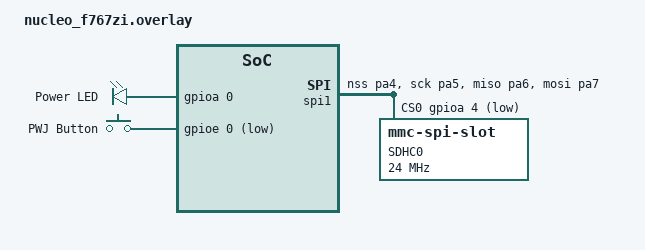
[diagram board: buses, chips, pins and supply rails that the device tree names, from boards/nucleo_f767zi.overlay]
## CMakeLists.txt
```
# SPDX-License-Identifier: Apache-2.0

cmake_minimum_required(VERSION 3.13.1)
find_package(Zephyr REQUIRED HINTS $ENV{ZEPHYR_BASE})
project(app LANGUAGES C VERSION 1.0.0)

target_include_directories(app PRIVATE ${CMAKE_BINARY_DIR}/app/include src)
file(GLOB app_sources "src/*.c")
target_sources(app PRIVATE ${app_sources})

set(ENV{CROSS_COMPILE} "/opt/local/bin/arm-none-eabi-")
```

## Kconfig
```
mainmenu "APP"

source "Kconfig.zephyr"
config APP_ADC_DMA
	default y
	bool
	select USE_STM32_LL_ADC
	select USE_STM32_LL_DMA
```

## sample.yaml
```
sample:
  description: Measure the pressure and infer strain from PWJ
  name: PWJ Strain Logger
tests:
  sample.basic.button:
    tags: button gpio
    filter: dt_compat_enabled_with_alias("gpio-keys", "sw0")
    depends_on: gpio sdhc
    harness: button console
    harness_config:
      fixture: fixture_sdhc
```

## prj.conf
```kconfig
CONFIG_GPIO=y
CONFIG_FILE_SYSTEM=y
CONFIG_FAT_FILESYSTEM_ELM=y
CONFIG_PRINTK=y
CONFIG_MAIN_STACK_SIZE=2048
CONFIG_DISK_ACCESS=y
CONFIG_LOG=y
CONFIG_LOG_DEFAULT_LEVEL=4
CONFIG_SDMMC_LOG_LEVEL_DBG=n
CONFIG_SPI_LOG_LEVEL_DBG=n
CONFIG_FS_LOG_LEVEL_DBG=n
```

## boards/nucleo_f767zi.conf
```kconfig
CONFIG_DISK_DRIVER_SDMMC=y
CONFIG_SPI=y
CONFIG_SPI_STM32=y
```

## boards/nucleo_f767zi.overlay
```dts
/ {
	leds {
		compatible = "gpio-leds";
		power_led: led_3 {
			gpios = <&gpioa 0 GPIO_ACTIVE_HIGH>;
			label = "Power LED";
		};
	};


	gpio_keys {
		compatible = "gpio-keys";
		pwj_button: button_1 {
			label = "PWJ Button";
			gpios = <&gpioe 0 GPIO_ACTIVE_LOW>;
		};
	};

	aliases {
		ledstatus = &green_led;
		ledpower = &power_led;
		sw1 = &pwj_button;
	};
};

&spi1 {
        pinctrl-0 = <&spi1_nss_pa4 &spi1_sck_pa5
                     &spi1_miso_pa6 &spi1_mosi_pa7>;
        status = "okay";
        cs-gpios = <&gpioa 4 GPIO_ACTIVE_LOW>;

        sdhc0: sdhc@0 {
                compatible = "zephyr,mmc-spi-slot";
                reg = <0>;
                status = "okay";
                label = "SDHC0";
                spi-max-frequency = <24000000>;
        };
};
```

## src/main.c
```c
/*-
 * Copyright (c) 2022, David Kalliecharan <dave@dal.ca>
 * All rights reserved.
 *
 * Redistribution and use in source and binary forms, with or without
 * modification, are permitted provided that the following conditions are
 * met:
 *
 *  * Redistributions of source code must retain the above copyright
 *    notice, this list of conditions and the following disclaimer.
 *  * Redistributions in binary form must reproduce the above copyright
 *    notice, this list of conditions and the following disclaimer in the
 *    documentation and/or other materials provided with the
 *    distribution.
 *
 * THIS SOFTWARE IS PROVIDED BY THE AUTHOR AND CONTRIBUTORS ``AS IS'' AND
 * ANY EXPRESS OR IMPLIED WARRANTIES, INCLUDING, BUT NOT LIMITED TO, THE
 * IMPLIED WARRANTIES OF MERCHANTABILITY AND FITNESS FOR A PARTICULAR
 * PURPOSE ARE DISCLAIMED. IN NO EVENT SHALL THE AUTHOR OR CONTRIBUTORS
 * BE LIABLE FOR ANY DIRECT, INDIRECT, INCIDENTAL, SPECIAL, EXEMPLARY, OR
 * CONSEQUENTIAL DAMAGES (INCLUDING, BUT NOT LIMITED TO, PROCUREMENT OF
 * SUBSTITUTE GOODS OR SERVICES; LOSS OF USE, DATA, OR PROFITS; OR
 * BUSINESS INTERRUPTION) HOWEVER CAUSED AND ON ANY THEORY OF LIABILITY,
 * WHETHER IN CONTRACT, STRICT LIABILITY, OR TORT (INCLUDING NEGLIGENCE
 * OR OTHERWISE) ARISING IN ANY WAY OUT OF THE USE OF THIS SOFTWARE, EVEN
 * IF ADVISED OF THE POSSIBILITY OF SUCH DAMAGE
 */

/* SPDX-License-Identifier: BSD-2-Clause */

#include "sd.h"

#include <soc.h>
#include <stm32_ll_adc.h>
#include <stm32_ll_dma.h>
#include <zephyr.h>
#include <device.h>
#include <drivers/gpio.h>
#include <sys/util.h>
#include <sys/printk.h>

#include <disk/disk_access.h>
#include <logging/log.h>
#include <fs/fs.h>
#include <ff.h>

#include <inttypes.h>
#include <stdint.h>
#include <stdbool.h>

#define SLEEP_TIME_MS	1
#define PRIORITY_DMA	0

#define DATA_BUFFER_LEN	2 << 13
/* Sample rate should not be a multiple of 40 kHz */
#define SAMPLE_RATE_HZ	169000

/*
 * Get button configuration from the devicetree sw0 alias.
 *
 * At least a GPIO device and pin number must be provided. The 'flags'
 * cell is optional.
 */
#define LED_PWR_NODE	DT_ALIAS(ledpower)
#define LED_STATUS_NODE	DT_ALIAS(ledstatus)
#define SW0_NODE	DT_ALIAS(sw0)
#define SW1_NODE	DT_ALIAS(sw1)

#if DT_NODE_HAS_STATUS(LED_PWR_NODE, okay) && DT_NODE_HAS_PROP(LED_PWR_NODE, gpios)
#define LED_PWR_GPIO_LABEL	DT_GPIO_LABEL(LED_PWR_NODE, gpios)
#define LED_PWR_GPIO_PIN	DT_GPIO_PIN(LED_PWR_NODE, gpios)
#define LED_PWR_GPIO_FLAGS	(GPIO_OUTPUT | DT_GPIO_FLAGS(LED_PWR_NODE, gpios))
#endif

#if DT_NODE_HAS_STATUS(LED_STATUS_NODE, okay) && DT_NODE_HAS_PROP(LED_STATUS_NODE, gpios)
#define LED_STATUS_GPIO_LABEL	DT_GPIO_LABEL(LED_STATUS_NODE, gpios)
#define LED_STATUS_GPIO_PIN	DT_GPIO_PIN(LED_STATUS_NODE, gpios)
#define LED_STATUS_GPIO_FLAGS	(GPIO_OUTPUT | DT_GPIO_FLAGS(LED_STATUS_NODE, gpios))
#endif

#define LED_NUM 2
enum leds_available {POWER, STATUS};

#if DT_NODE_HAS_STATUS(SW0_NODE, okay)
#define SW0_GPIO_LABEL	DT_GPIO_LABEL(SW0_NODE, gpios)
#define SW0_GPIO_PIN	DT_GPIO_PIN(SW0_NODE, gpios)
#define SW0_GPIO_FLAGS	(GPIO_INPUT | DT_GPIO_FLAGS(SW0_NODE, gpios))
#else
#error "Unsupported board: sw0 devicetree alias is not defined"
#define SW0_GPIO_LABEL	""
#define SW0_GPIO_PIN	0
#define SW0_GPIO_FLAGS	0
#endif

#if DT_NODE_HAS_STATUS(SW1_NODE, okay)
#define SW1_GPIO_LABEL	DT_GPIO_LABEL(SW1_NODE, gpios)
#define SW1_GPIO_PIN	DT_GPIO_PIN(SW1_NODE, gpios)
#define SW1_GPIO_FLAGS	(GPIO_INPUT | DT_GPIO_FLAGS(SW1_NODE, gpios))
#else
#error "Unsupported board: sw1 devicetree alias is not defined"
#define SW1_GPIO_LABEL	""
#define SW1_GPIO_PIN	0
#define SW1_GPIO_FLAGS	0
#endif

enum timeout_flag {
	TIMEOUT_DEFAULT_MS = 1000,
	TIMEOUT_ERROR_ADC  = 500,
	TIMEOUT_ERROR_DMA  = 100,
	TIMEOUT_ERROR_SD   = 50,
};

/* SD card related definitions */
LOG_MODULE_REGISTER(main);

static struct gpio_callback button_cb_data;

static volatile uint16_t data_buffer[2][DATA_BUFFER_LEN];
static volatile bool dma_complete = false;
static volatile bool dma_error = false;
static uint16_t *pfull_buffer = NULL;

static struct k_timer status_timer;
static const struct device *led_status;
enum status_state_enum {
	STATUS_IDLE = 0,
	STATUS_DATA_ACQ,
	STATUS_ERROR_ADC = -1,
	STATUS_ERROR_DMA = -2,
} status_state = STATUS_IDLE;

enum timer_state_enum {
	TIMER_DISABLED = 0,
	TIMER_ENABLED = 1,
	TIMER_SOFT_STOP,
} timer_state = TIMER_DISABLED;

static volatile uint32_t tim_reload;

static void
DMA2_Stream0_IRQHandler(void *args)
{
	if (DMA2->LISR & DMA_LISR_TCIF0) {
		DMA2->LIFCR |= DMA_LIFCR_CTCIF0;
		dma_complete = true;
		/* Double buffer check */
		if (DMA2_Stream0->CR & DMA_SxCR_CT) {
			pfull_buffer = (uint16_t*)&data_buffer[0][0];
		} else {
			pfull_buffer = (uint16_t*)&data_buffer[1][0];
		}
	}

	if (DMA2->LISR & DMA_LISR_TEIF0) {
		DMA2->LIFCR |= DMA_LIFCR_CTEIF0;
		dma_error = true;
	}

	if (timer_state == TIMER_SOFT_STOP) {
		TIM2->CR1 &= ~TIM_CR1_CEN;
		ADC1->CR2 &= ~ADC_CR2_ADON;
		timer_state = TIMER_DISABLED;
		LOG_DBG("TIM2 | Stopped\n");
		sd_close();
	}
}

static inline
void _gpio_init()
{
	/* Enable GPIOA PA0 as analog */
	GPIOA->MODER |= (GPIO_MODER_MODER3_0 | GPIO_MODER_MODER3_1);
	RCC->AHB1ENR |= RCC_AHB1ENR_GPIOAEN;
}

static inline void
_adc_pre_init(void)
{
	volatile uint32_t tmpreg;

	/* Enable ADC 1 peripheral clock, wait 2 clock cycles before read  */
	RCC->APB2ENR |= RCC_APB2ENR_ADC1EN;
	tmpreg = (RCC->APB2ENR & RCC_APB2ENR_ADC1EN);
	(void)tmpreg;

	/* ADC prescaler set to 2 */
	ADC123_COMMON->CCR &= (0x00 << ADC_CCR_ADCPRE_Pos);
	/* Disable continous mode */
	ADC1->CR2 |= ADC_CR2_CONT;
}

static inline void
_adc_post_init(void)
{
	/* External trigger on Timer2 TRGO */
	ADC1->CR2 = (0b1011 << ADC_CR2_EXTSEL_Pos) | (0x1 << ADC_CR2_EXTEN_Pos);
	/* One sequence implying a single conversion */
	ADC1->SQR1 = (0x0 << ADC_SQR1_L_Pos);
	/* Put ADC1 Channel 3 on Sequence 1 */
	ADC1->SQR3 = (0x3 << ADC_SQR3_SQ1_Pos);
	/* Sample time 15 cycles on ADC1 PA3 */
	ADC1->SMPR2 = (ADC_SMPR2_SMP3_1 | ADC_SMPR2_SMP3_0);
	/* For DMA enable multplie conversions */
	ADC1->CR1 |= ADC_CR1_SCAN;
	/* Enable DMA transfers */
	ADC1->CR2 |= ADC_CR2_DDS;
	ADC1->CR2 |= ADC_CR2_DMA;
}

static inline void
_timer_init(void)
{
	uint32_t tmpreg;
	uint32_t apb1_ppre1 = (RCC->CFGR & RCC_CFGR_PPRE1) >> RCC_CFGR_PPRE1_Pos;
	uint32_t tim_clk_freq = SystemCoreClock >> APBPrescTable[apb1_ppre1];
	/* tim_clk_freq @ 36 MHz in STM32F767ZI default state.
	 * for simplicity set timer update every 1 MHz
	 */
	uint32_t tim_prescaler = 1;

	if (apb1_ppre1 != RCC_CFGR_PPRE1_DIV1) {
		tim_clk_freq *= 2;
	}
	LOG_DBG("TIM | PPRE1           : 0x%02x\n", apb1_ppre1);
	LOG_DBG("TIM | CLK             : %i\n", tim_clk_freq);

	/* Enable TIM2 peripheral clock, wait 2 clock cycles before read */
	RCC->APB1ENR |= RCC_APB1ENR_TIM2EN;
	tmpreg = RCC->APB1ENR & RCC_APB1ENR_TIM2EN;
	(void)tmpreg;

	/* TIM2 is a 32-bit timer, but prescaler is 16-bits wide
	 * This implies timer range is tim_clk_freq/0xffff -> tim_clk_freq
	 */
	tim_reload = tim_clk_freq / (tim_prescaler * SAMPLE_RATE_HZ);
	/* WARN Adjust register by -1 since they count from zero */
	TIM2->PSC = tim_prescaler - 1;
	TIM2->ARR = tim_reload - 1;

	/* Upcounter, and edge aligned */
	TIM2->CR1 &= ~(TIM_CR1_DIR & TIM_CR1_CMS);
	/* Update event for trigger output TRGO */
	TIM2->CR2 |= (0x2 << TIM_CR2_MMS_Pos);
	/* Update generation, re-initialize the counter */
	TIM2->EGR |= TIM_EGR_UG;
}

static inline void
_dma_init(void)
{
	/* Goal select DMA2 to use ADC1 on stream 0 channel 0 */

	volatile uint32_t tmpreg;
	/* Enable peripherial clock for DMA */
	RCC->AHB1ENR |= RCC_AHB1ENR_DMA2EN;
	/* Give 2 clock cycles to stabilize */
	tmpreg = (RCC->AHB1ENR & RCC_AHB1ENR_DMA2EN);
	(void)tmpreg;

	/* Select Channel 0 for Stream 0 on DMA2 */
	//DMA2_Stream0->CR = (0x0 << DMA_SxCR_CHSEL_Pos);

	/* Configuration transfer */
	/* Reset assumes periph. to memory, perih. no inc., DMA controls flow */
	const uint32_t cr = (DMA_SxCR_MINC 	| /* Memory inc. */
			     DMA_SxCR_CIRC 	| /* Circular Buffer */
			     DMA_SxCR_DBM 	| /* Double buffer */
			     DMA_SxCR_MSIZE_0 	| /* 16-bit */
			     DMA_SxCR_PSIZE_0 	| /* 16-bit */
			     DMA_SxCR_PL_1);	  /* Priority high */

	/* Specify transfer addresses and size for ADC and data */
	DMA2_Stream0->PAR = (uint32_t)&(ADC1->DR);
	DMA2_Stream0->M0AR = (uint32_t)&data_buffer[0][0];
	DMA2_Stream0->M1AR = (uint32_t)&data_buffer[1][0];

	/* Do not exceed DMA byte transfer limit */
	if (DATA_BUFFER_LEN > 0xffff) {
		DMA2_Stream0->NDTR = 0xffff;
	} else {
		DMA2_Stream0->NDTR = DATA_BUFFER_LEN;
	}

	/* XXX Zephyr style IRQ */
	IRQ_CONNECT(DMA2_Stream0_IRQn, PRIORITY_DMA,
		    DMA2_Stream0_IRQHandler, 0, 0);
	irq_enable(DMA2_Stream0_IRQn);

	/* Enable transfer error+complete interrupts */
	DMA2_Stream0->CR = (cr | DMA_SxCR_TCIE | DMA_SxCR_TEIE);

	/* Enable transfers + Clear interrupt flags (datasheet suggestion) */
	DMA2->LIFCR |= (DMA_LIFCR_CTCIF0 | DMA_LIFCR_CTEIF0 |
			DMA_LIFCR_CTCIF1 | DMA_LIFCR_CTEIF1 |
			DMA_LIFCR_CTCIF2 | DMA_LIFCR_CTEIF2 |
			DMA_LIFCR_CTCIF3 | DMA_LIFCR_CTEIF3);
	DMA2->HIFCR |= (DMA_HIFCR_CTCIF4 | DMA_HIFCR_CTEIF4 |
			DMA_HIFCR_CTCIF5 | DMA_HIFCR_CTEIF5 |
			DMA_HIFCR_CTCIF6 | DMA_HIFCR_CTEIF6 |
			DMA_HIFCR_CTCIF7 | DMA_HIFCR_CTEIF7);
	//DMA2_Stream0->FCR |= DMA_SxFCR_DMDIS;
	printk("Starting DMA\n");
	DMA2_Stream0->CR |= DMA_SxCR_EN;
}

void
button_pressed(const struct device *dev, struct gpio_callback *cb,
	uint32_t pins)
{
	uint16_t status_timeout = TIMEOUT_DEFAULT_MS;
	LOG_DBG("[%" PRIu32 "] Button pressed\n", k_cycle_get_32());

	/* Toggle TIM2 state */
	if (timer_state == TIMER_DISABLED) {
		status_state = STATUS_DATA_ACQ;
		/* Turn on LED solid to indicate data collection */
		gpio_pin_set(led_status, LED_STATUS_GPIO_PIN, 1);
		k_timer_stop(&status_timer);
		sd_open("pwj%05i.bin", FS_O_CREATE | FS_O_WRITE);
		TIM2->CR1 |= TIM_CR1_CEN;
		/* Required for SWSTART */
		ADC1->CR2 |= ADC_CR2_ADON;
		timer_state = TIMER_ENABLED;
		LOG_DBG("TIM2 | Starting\n");
	} else {
		status_state = STATUS_IDLE;
		k_timer_start(&status_timer, K_MSEC(status_timeout), K_MSEC(status_timeout));
		timer_state = TIMER_SOFT_STOP;
		LOG_DBG("TIM2 | Stopping\n");
	}
}

void
status_led_handler(struct k_timer *timer_id)
{
	bool led_state;
	led_state = gpio_pin_get(led_status, LED_STATUS_GPIO_PIN);
	gpio_pin_set(led_status, LED_STATUS_GPIO_PIN, !led_state);
}

void
main(void)
{
	/* Required for STM32F767, breaks DCache breaks DMA on Zephyr */
	 SCB_DisableDCache();

	const struct device *button_stm32;
	const struct device *button_pwj;
	const struct device *led_power;
	size_t buf_byte_size = sizeof(uint16_t)*DATA_BUFFER_LEN;
	int ret;
	int sd_status;
	uint16_t status_timeout = TIMEOUT_DEFAULT_MS;

	_gpio_init();
	_adc_pre_init();
	_timer_init();
	_dma_init();
	_adc_post_init();

	/* Button on STM32 board */
	button_stm32 = device_get_binding(SW0_GPIO_LABEL);
	if (button_stm32 == NULL) {
		printk("Error: didn't find %s device\n", SW0_GPIO_LABEL);
		return;
	}

	ret = gpio_pin_configure(button_stm32, SW0_GPIO_PIN, SW0_GPIO_FLAGS);
	if (ret != 0) {
		printk("Error %d: failed to configure %s pin %d\n",
		       ret, SW0_GPIO_LABEL, SW0_GPIO_PIN);
		return;
	}

	ret = gpio_pin_interrupt_configure(button_stm32,
					   SW0_GPIO_PIN,
					   GPIO_INT_EDGE_TO_ACTIVE);
	if (ret != 0) {
		printk("Error %d: failed to configure interrupt on %s pin %d\n",
			ret, SW0_GPIO_LABEL, SW0_GPIO_PIN);
		return;
	}

	gpio_init_callback(&button_cb_data, button_pressed, BIT(SW0_GPIO_PIN));
	gpio_add_callback(button_stm32, &button_cb_data);
	printk("Set up button_stm32 at %s pin %d\n", SW0_GPIO_LABEL, SW0_GPIO_PIN);

	/* Button on PWJ signal board */
	button_pwj = device_get_binding(SW1_GPIO_LABEL);
	if (button_pwj == NULL) {
		printk("Error: didn't find %s device\n", SW1_GPIO_LABEL);
		return;
	}

	ret = gpio_pin_configure(button_pwj, SW1_GPIO_PIN, SW1_GPIO_FLAGS);
	if (ret != 0) {
		printk("Error %d: failed to configure %s pin %d\n",
		       ret, SW1_GPIO_LABEL, SW1_GPIO_PIN);
		return;
	}

	ret = gpio_pin_interrupt_configure(button_pwj,
					   SW1_GPIO_PIN,
					   GPIO_INT_EDGE_TO_ACTIVE);
	if (ret != 0) {
		printk("Error %d: failed to configure interrupt on %s pin %d\n",
			ret, SW1_GPIO_LABEL, SW1_GPIO_PIN);
		return;
	}

	gpio_init_callback(&button_cb_data, button_pressed, BIT(SW1_GPIO_PIN));
	gpio_add_callback(button_pwj, &button_cb_data);
	printk("Set up button_pwj at %s pin %d\n", SW1_GPIO_LABEL, SW1_GPIO_PIN);

	/* LEDs */
	led_status = device_get_binding(LED_STATUS_GPIO_LABEL);
	if (led_status == NULL) {
		printk("Didn't find STATUS LED device %s\n", LED_STATUS_GPIO_LABEL);
		return;
	}

	ret = gpio_pin_configure(led_status, LED_STATUS_GPIO_PIN,
				 LED_STATUS_GPIO_FLAGS);
	if (ret != 0) {
		printk("Error %d: failed to configure STATUS LED device %s pin %d\n",
		       ret, LED_STATUS_GPIO_LABEL, LED_STATUS_GPIO_PIN);
		return;
	}

	printk("Set up STATUS LED at %s pin %d\n",
	       LED_STATUS_GPIO_LABEL, LED_STATUS_GPIO_PIN);

	led_power = device_get_binding(LED_PWR_GPIO_LABEL);
	if (led_power == NULL) {
		printk("Didn't find POWER LED device %s\n", LED_PWR_GPIO_LABEL);
		return;
	}

	ret = gpio_pin_configure(led_power, LED_PWR_GPIO_PIN, LED_PWR_GPIO_FLAGS);
	if (ret != 0) {
		printk("Error %d: failed to configure POWER LED d<M-PageUp>evice %s pin %d\n",
		       ret, LED_PWR_GPIO_LABEL, LED_PWR_GPIO_PIN);
		return;
	}

	LOG_DBG("POWER LED @ %s pin %d\n", LED_PWR_GPIO_LABEL, LED_PWR_GPIO_PIN);
	LOG_DBG("System Clock (Hz)    : %i\n", SystemCoreClock);
	LOG_DBG("RCC->CR            : 0x%08x\n", RCC->CR);
	LOG_DBG("RCC->CFGR          : 0x%08x\n", RCC->CFGR);
	LOG_DBG("RCC->PLLCFGR       : 0x%08x\n", RCC->PLLCFGR);
	LOG_DBG("RCC->AHB1ENR       : 0x%08x\n", RCC->AHB1ENR);
	LOG_DBG("DMA2_Stream0->CR   : 0x%08x\n", DMA2_Stream0->CR);
	LOG_DBG("DMA2_Stream0->NDTR : 0x%08x\n", DMA2_Stream0->NDTR);
	LOG_DBG("DMA2_Stream0->PAR  : 0x%08x\n", DMA2_Stream0->PAR);
	LOG_DBG("DMA2_Stream0->MOAR : 0x%08x\n", DMA2_Stream0->M0AR);
	LOG_DBG("DMA2_Stream0->FCR  : 0x%08x\n", DMA2_Stream0->FCR);

	printk("PWJ Strain Logger Ready\n");

	sd_status = sd_init();
	if (sd_status == SD_DISK_MNT_FAIL) {
		status_timeout = TIMEOUT_ERROR_SD;
	}

	gpio_pin_set(led_power, LED_PWR_GPIO_PIN, 1);
	gpio_pin_set(led_status, LED_STATUS_GPIO_PIN, 0);

	/* Setup Status LED */
	k_timer_init(&status_timer, status_led_handler, NULL);
	k_timer_start(&status_timer, K_MSEC(status_timeout), K_MSEC(status_timeout));
	while (1) {
		if (ADC1->SR & ADC_SR_OVR) {
			ADC1->SR &= ~ADC_SR_OVR;
			status_timeout = TIMEOUT_ERROR_ADC;
			k_timer_stop(&status_timer);
			k_timer_start(&status_timer, K_MSEC(status_timeout), K_MSEC(status_timeout));
			status_state = STATUS_ERROR_ADC;
			printk("ADC Error!\n");
		}

		if (dma_error) {
			dma_error = false;
			status_timeout = TIMEOUT_ERROR_DMA;
			k_timer_stop(&status_timer);
			k_timer_start(&status_timer, K_MSEC(status_timeout), K_MSEC(status_timeout));
			status_state = STATUS_ERROR_DMA;
			printk("DMA Error!\n");
		}

		if (dma_complete) {
			dma_complete = false;
			sd_save((uint8_t*)pfull_buffer, buf_byte_size);
		}
	}
}
```

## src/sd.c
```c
/*-
 * Copyright (c) 2022, David Kalliecharan <dave@dal.ca>
 * All rights reserved.
 *
 * Redistribution and use in source and binary forms, with or without
 * modification, are permitted provided that the following conditions are
 * met:
 *
 *  * Redistributions of source code must retain the above copyright
 *    notice, this list of conditions and the following disclaimer.
 *  * Redistributions in binary form must reproduce the above copyright
 *    notice, this list of conditions and the following disclaimer in the
 *    documentation and/or other materials provided with the
 *    distribution.
 *
 * THIS SOFTWARE IS PROVIDED BY THE AUTHOR AND CONTRIBUTORS ``AS IS'' AND
 * ANY EXPRESS OR IMPLIED WARRANTIES, INCLUDING, BUT NOT LIMITED TO, THE
 * IMPLIED WARRANTIES OF MERCHANTABILITY AND FITNESS FOR A PARTICULAR
 * PURPOSE ARE DISCLAIMED. IN NO EVENT SHALL THE AUTHOR OR CONTRIBUTORS
 * BE LIABLE FOR ANY DIRECT, INDIRECT, INCIDENTAL, SPECIAL, EXEMPLARY, OR
 * CONSEQUENTIAL DAMAGES (INCLUDING, BUT NOT LIMITED TO, PROCUREMENT OF
 * SUBSTITUTE GOODS OR SERVICES; LOSS OF USE, DATA, OR PROFITS; OR
 * BUSINESS INTERRUPTION) HOWEVER CAUSED AND ON ANY THEORY OF LIABILITY,
 * WHETHER IN CONTRACT, STRICT LIABILITY, OR TORT (INCLUDING NEGLIGENCE
 * OR OTHERWISE) ARISING IN ANY WAY OUT OF THE USE OF THIS SOFTWARE, EVEN
 * IF ADVISED OF THE POSSIBILITY OF SUCH DAMAGE
 */

/* SPDX-License-Identifier: BSD-2-Clause */

#include "sd.h"

#include <disk/disk_access.h>
#include <fs/fs.h>
#include <ff.h>
#include <logging/log.h>
#include <string.h>
#include <stdlib.h>
#include <stdio.h>

#define MAX_FILENAME_LEN	12
#define MAX_ABSPATH_LEN		16
#define FS_END_OF_DIR		0

LOG_MODULE_REGISTER(sd);

static const char *disk_mnt = "/SD:";
static FATFS fat_fs;

static struct fs_mount_t mp = {
	.type = FS_FATFS,
	.fs_data = &fat_fs,
};

static char curfile[16];
static struct fs_file_t fp;
static int sd_status = -1;

void
sd_close(void)
{
	fs_close(&fp);
	memcpy(curfile, 0, MAX_ABSPATH_LEN);
	printk("Closing file\n");
}

int
sd_open(const char *tmpl, unsigned int opt)
{
	int status;
	int idx = 0;
	int nchar = strlen(disk_mnt) + MAX_FILENAME_LEN;
	char fname[MAX_FILENAME_LEN];
	char tmpfile[nchar];
	struct fs_dirent entry;

	memset(fname, 0, MAX_FILENAME_LEN);
	memset(tmpfile, 0, nchar);

	while (1) {
		fs_file_t_init(&fp);
		sprintf(fname, tmpl, idx);
		sprintf(tmpfile, "%s/%s", disk_mnt, fname);
		status = fs_stat(tmpfile, &entry);
		if (status != -ENOENT) {
			idx++;
			continue;
		} else if ((status < 0) && (status != -ENOENT)) {
			printk("File system Error [%i]", status);
			return -1;
		}

		break;
	}

	status = fs_open(&fp, tmpfile, opt);
	if (status < 0) {
		printk("Error opening %s [E:%d]\n", fname, status);
		return status;
	}

	printk("Opening file %s\n", tmpfile);
	strcpy(curfile, tmpfile);

	return 0;
}

void
sd_save(void *data, size_t size)
{
	fs_write(&fp, data, size);
}

int
sd_init(void)
{
	static const char *disk_pdrv = "SD";
	uint64_t memory_size;
	uint32_t block_count;
	uint32_t block_size;

	do {
		if (disk_access_init(disk_pdrv) != 0) {
			LOG_ERR("SD: Initialization error!");
			break;
		}

		if (disk_access_ioctl(disk_pdrv, DISK_IOCTL_GET_SECTOR_COUNT,
			&block_count)) {
			LOG_ERR("SD: Unable to get sector count");
			break;
		}
		LOG_INF("Block count %u", block_count);

		if (disk_access_ioctl(disk_pdrv, DISK_IOCTL_GET_SECTOR_SIZE, 
			&block_size)) {
			LOG_ERR("SD: Unable to get sector size");
			break;
		}
		LOG_DBG("Sector size %u\n", block_size);
	} while (0);

	memory_size = (uint64_t)block_count * block_size;
	/* >> 10 is the same as divide by 1000 but faster
	 * >> 20 is the same as divide by 1000*1000 or 1000000
	 */
	LOG_DBG("Memory Size is %u MB\n", (uint32_t)(memory_size >> 20));

	mp.mnt_point = disk_mnt;

	sd_status = fs_mount(&mp);
	if (sd_status == FR_OK) {
		printk("microSD disk mounted on %s.\n", disk_mnt);
		/* List contents of microSD for debug output */
		sd_ls(disk_mnt);
	} else {
		printk("Error mounting microSD disk.\n");
		return SD_DISK_MNT_FAIL;
	}
	return SD_DISK_MNT_OK;
}

int 
sd_ls(const char *path)
{
	int status;
	struct fs_dir_t dirp;
	static struct fs_dirent entry;

	fs_dir_t_init(&dirp);

	status = fs_opendir(&dirp, path);
	if (status) {
		printk("Error opening dir %s [E:%d]\n", path, status);
		return status;
	}

	printk("Contents of %s\n", path);
	for (;;) {
		status = fs_readdir(&dirp, &entry);
		if (status || entry.name[0] == FS_END_OF_DIR) {
			break;
		}

		if (entry.type == FS_DIR_ENTRY_DIR) {
			printk("[DIR ] %s\n", entry.name);
		} else {
			printk("[FILE] %s (size = %zu)\n", entry.name, entry.size);
		}
	}

	fs_closedir(&dirp);

	return status;
}
```

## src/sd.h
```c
/*-
 * Copyright (c) 2022, David Kalliecharan <dave@dal.ca>
 * All rights reserved.
 *
 * Redistribution and use in source and binary forms, with or without
 * modification, are permitted provided that the following conditions are
 * met:
 *
 *  * Redistributions of source code must retain the above copyright
 *    notice, this list of conditions and the following disclaimer.
 *  * Redistributions in binary form must reproduce the above copyright
 *    notice, this list of conditions and the following disclaimer in the
 *    documentation and/or other materials provided with the
 *    distribution.
 *
 * THIS SOFTWARE IS PROVIDED BY THE AUTHOR AND CONTRIBUTORS ``AS IS'' AND
 * ANY EXPRESS OR IMPLIED WARRANTIES, INCLUDING, BUT NOT LIMITED TO, THE
 * IMPLIED WARRANTIES OF MERCHANTABILITY AND FITNESS FOR A PARTICULAR
 * PURPOSE ARE DISCLAIMED. IN NO EVENT SHALL THE AUTHOR OR CONTRIBUTORS
 * BE LIABLE FOR ANY DIRECT, INDIRECT, INCIDENTAL, SPECIAL, EXEMPLARY, OR
 * CONSEQUENTIAL DAMAGES (INCLUDING, BUT NOT LIMITED TO, PROCUREMENT OF
 * SUBSTITUTE GOODS OR SERVICES; LOSS OF USE, DATA, OR PROFITS; OR
 * BUSINESS INTERRUPTION) HOWEVER CAUSED AND ON ANY THEORY OF LIABILITY,
 * WHETHER IN CONTRACT, STRICT LIABILITY, OR TORT (INCLUDING NEGLIGENCE
 * OR OTHERWISE) ARISING IN ANY WAY OUT OF THE USE OF THIS SOFTWARE, EVEN
 * IF ADVISED OF THE POSSIBILITY OF SUCH DAMAGE
 */

/* SPDX-License-Identifier: BSD-2-Clause */

#ifndef _SD_H_
#define _SD_H_

#include <stddef.h>

enum {
	SD_DISK_MNT_FAIL = -1,
	SD_DISK_MNT_OK = 0,
};

int  sd_init();
int  sd_ls(const char *path);
int  sd_open(const char *tmpl, unsigned int opt);
void sd_close();
void sd_save(void *data, size_t size);

#endif /* _SD_H_ */
```
